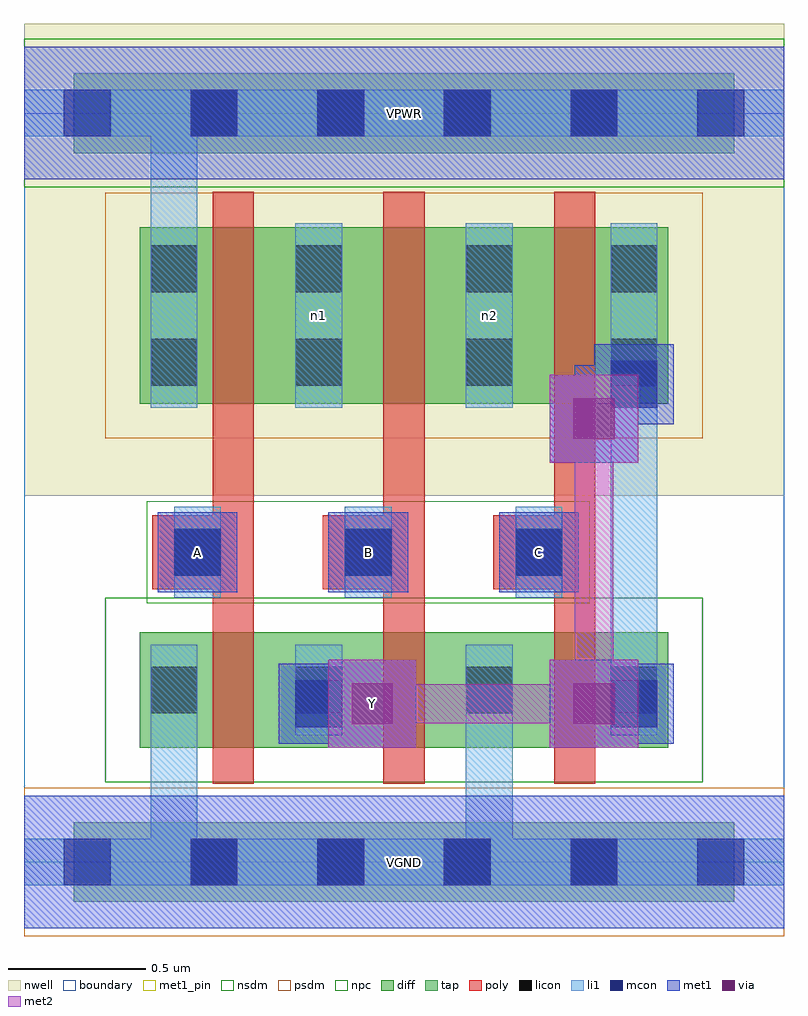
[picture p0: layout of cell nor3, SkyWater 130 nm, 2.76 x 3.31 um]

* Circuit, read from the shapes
.subckt nor3 A B C VGND VPWR Y n1 n2
XM1 Y A VGND VGND sky130_fd_pr__nfet_01v8 w=0.42 l=0.15
XM2 VGND B Y VGND sky130_fd_pr__nfet_01v8 w=0.42 l=0.15
XM3 Y C VGND VGND sky130_fd_pr__nfet_01v8 w=0.42 l=0.15
XM4 n1 A VPWR VPWR sky130_fd_pr__pfet_01v8 w=0.64 l=0.15
XM5 n2 B n1 VPWR sky130_fd_pr__pfet_01v8 w=0.64 l=0.15
XM6 Y C n2 VPWR sky130_fd_pr__pfet_01v8 w=0.64 l=0.15
.ends

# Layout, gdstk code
import gdstk
lib = gdstk.Library(unit=1e-6, precision=1e-09)
def R(c, l, rs):  # rectangles x0, y0, x1, y1
    for r in rs: c.add(gdstk.rectangle(r[:2], r[2:], *l))
def A(c, l, x, y, w, h, nx, ny, dx, dy):  # array of equal rectangles
    R(c, l, [(x+i*dx, y+j*dy, x+i*dx+w, y+j*dy+h) for i in range(nx) for j in range(ny)])
nwell = (64, 20)
diff = (65, 20)
tap = (65, 44)
poly = (66, 20)
licon = (66, 44)
li1 = (67, 20)
mcon = (67, 44)
met1_pin = (68, 16)
met1 = (68, 20)
via = (68, 44)
met2 = (69, 20)
nsdm = (93, 44)
psdm = (94, 20)
npc = (95, 20)
boundary = (235, 4)

nor3 = lib.new_cell('nor3')
R(nor3, nwell, [(0,1.33,2.76,3.045)])
R(nor3, diff, [(0.42,0.415,2.34,0.835), (0.42,1.665,2.34,2.305)])
R(nor3, tap, [(0.18,-0.145,2.58,0.145), (0.18,2.575,2.58,2.865)])
A(nor3, poly, 0.685, 0.285, 0.15, 2.15, 3, 1, 0.62, 0)
A(nor3, poly, 0.465, 0.99, 0.33, 0.27, 3, 1, 0.62, 0)
A(nor3, licon, 0.605, -0.085, 0.17, 0.17, 4, 2, 0.46, 2.72)
A(nor3, licon, 0.545, 1.04, 0.17, 0.17, 3, 1, 0.62, 0)
R(nor3, licon, [(0.46,0.54,0.63,0.71), (0.985,0.54,1.155,0.71), (1.605,0.54,1.775,0.71), (2.13,0.54,2.3,0.71), (0.46,1.73,0.63,1.9), (0.985,1.73,1.155,1.9), (1.605,1.73,1.775,1.9), (2.13,1.73,2.3,1.9), (0.46,2.07,0.63,2.24), (0.985,2.07,1.155,2.24), (1.605,2.07,1.775,2.24), (2.13,2.07,2.3,2.24)])
A(nor3, li1, 0.545, 0.96, 0.17, 0.33, 3, 1, 0.62, 0)
R(nor3, li1, [(0,-0.085,2.76,0.085), (0.46,-0.085,0.63,0.79), (1.605,-0.085,1.775,0.79), (0.46,0.46,0.63,0.79), (0.985,0.46,1.155,0.79), (1.605,0.46,1.775,0.79), (2.13,0.46,2.3,0.79), (2.13,0.46,2.3,2.32), (0.46,1.65,0.63,2.32), (0.46,1.65,0.63,2.805), (0.985,1.65,1.155,2.32), (1.605,1.65,1.775,2.32), (2.13,1.65,2.3,2.32), (0,2.635,2.76,2.805)])
A(nor3, mcon, 0.145, -0.085, 0.17, 0.17, 6, 2, 0.46, 2.72)
A(nor3, mcon, 0.545, 1.04, 0.17, 0.17, 3, 1, 0.62, 0)
R(nor3, mcon, [(0.985,0.49,1.155,0.66), (2.13,0.49,2.3,0.66), (2.13,1.65,2.3,1.82)])
A(nor3, met1_pin, 0.485, 0.98, 0.29, 0.29, 3, 1, 0.62, 0)
R(nor3, met1_pin, [(0,-0.24,2.76,0.24), (1.105,0.415,1.425,0.735), (0,2.48,2.76,2.96)])
A(nor3, met1, 0.485, 0.98, 0.29, 0.29, 3, 1, 0.62, 0)
R(nor3, met1, [(0,-0.24,2.76,0.24), (1.105,0.415,1.425,0.735), (1.91,0.415,2.23,0.735), (0.925,0.43,1.215,0.72), (2.07,0.43,2.36,0.72), (1,0.505,1.335,0.645), (2,0.505,2.285,0.645), (1.91,1.45,2.23,1.77), (2,1.54,2.14,1.805), (2.07,1.59,2.36,1.88), (2,1.665,2.285,1.805), (0,2.48,2.76,2.96)])
R(nor3, via, [(1.19,0.5,1.34,0.65), (1.995,0.5,2.145,0.65), (1.995,1.535,2.145,1.685)])
R(nor3, met2, [(1.105,0.415,1.425,0.735), (1.91,0.415,2.23,0.735), (1.195,0.505,2.14,0.645), (2,0.505,2.14,1.68), (1.91,1.45,2.23,1.77)])
R(nor3, nsdm, [(0.295,0.29,2.465,0.96), (0,2.45,2.76,2.99)])
R(nor3, psdm, [(0,-0.27,2.76,0.27), (0.295,1.54,2.465,2.43)])
R(nor3, npc, [(0.445,0.94,2.055,1.31)])
R(nor3, boundary, [(0,0,2.76,2.72)])
nor3.add(gdstk.Label('n1', (1.07,1.985), layer=67, texttype=5))
nor3.add(gdstk.Label('n2', (1.69,1.985), layer=67, texttype=5))
nor3.add(gdstk.Label('A', (0.63,1.125), layer=68, texttype=5))
nor3.add(gdstk.Label('B', (1.25,1.125), layer=68, texttype=5))
nor3.add(gdstk.Label('C', (1.87,1.125), layer=68, texttype=5))
nor3.add(gdstk.Label('Y', (1.265,0.575), layer=68, texttype=5))
nor3.add(gdstk.Label('VPWR', (1.38,2.72), layer=68, texttype=5))
nor3.add(gdstk.Label('VGND', (1.38,0), layer=68, texttype=5))
nor3.add(gdstk.Label('A', (0.63,1.125), layer=68, texttype=16))
nor3.add(gdstk.Label('B', (1.25,1.125), layer=68, texttype=16))
nor3.add(gdstk.Label('C', (1.87,1.125), layer=68, texttype=16))
nor3.add(gdstk.Label('Y', (1.265,0.575), layer=68, texttype=16))
nor3.add(gdstk.Label('VPWR', (1.38,2.72), layer=68, texttype=16))
nor3.add(gdstk.Label('VGND', (1.38,0), layer=68, texttype=16))

lib.write_gds('nor3.gds')
